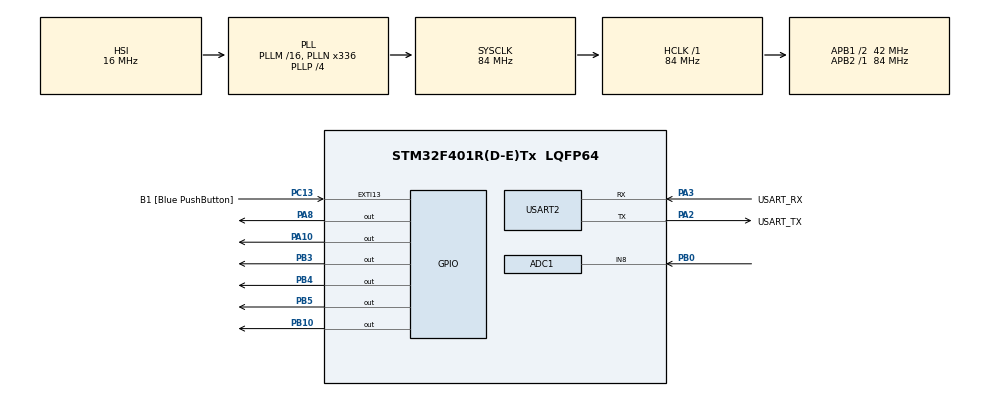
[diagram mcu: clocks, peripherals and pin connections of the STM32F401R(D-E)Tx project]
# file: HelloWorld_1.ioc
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ADC1.Channel-4\#ChannelRegularConversion=ADC_CHANNEL_8
ADC1.NbrOfConversionFlag=1
ADC1.Rank-4\#ChannelRegularConversion=1
ADC1.SamplingTime-4\#ChannelRegularConversion=ADC_SAMPLETIME_3CYCLES
ADC1.master=1
Mcu.Family=STM32F4
Mcu.Name=STM32F401R(D-E)Tx
Mcu.Package=LQFP64
NVIC.PriorityGroup=NVIC_PRIORITYGROUP_4
PA10.Signal=GPIO_Output
PA13.GPIO_Label=TMS
PA13.Signal=SYS_JTMS-SWDIO
PA14.GPIO_Label=TCK
PA14.Signal=SYS_JTCK-SWCLK
PA2.GPIO_Label=USART_TX
PA2.GPIO_Mode=GPIO_MODE_AF_PP
PA2.GPIO_PuPd=GPIO_NOPULL
PA2.GPIO_Speed=GPIO_SPEED_FREQ_LOW
PA2.Mode=Asynchronous
PA2.Signal=USART2_TX
PA3.GPIO_Label=USART_RX
PA3.GPIO_Mode=GPIO_MODE_AF_PP
PA3.GPIO_PuPd=GPIO_NOPULL
PA3.GPIO_Speed=GPIO_SPEED_FREQ_LOW
PA3.Mode=Asynchronous
PA3.Signal=USART2_RX
PA8.Signal=GPIO_Output
PB0.Signal=ADCx_IN8
PB10.Signal=GPIO_Output
PB3.Signal=GPIO_Output
PB4.Signal=GPIO_Output
PB5.Signal=GPIO_Output
PC13-ANTI_TAMP.GPIO_Label=B1 [Blue PushButton]
PC13-ANTI_TAMP.GPIO_ModeDefaultEXTI=GPIO_MODE_IT_FALLING
PC13-ANTI_TAMP.GPIO_PuPd=GPIO_NOPULL
PC13-ANTI_TAMP.Signal=GPXTI13
PC14-OSC32_IN.Signal=RCC_OSC32_IN
PC15-OSC32_OUT.Signal=RCC_OSC32_OUT
PH0\ -\ OSC_IN.Signal=RCC_OSC_IN
PH1\ -\ OSC_OUT.Signal=RCC_OSC_OUT
ProjectManager.HeapSize=0x200
ProjectManager.StackSize=0x400
ProjectManager.TargetToolchain=STM32CubeIDE
RCC.48MHZClocksFreq_Value=48000000
RCC.AHBFreq_Value=84000000
RCC.APB1CLKDivider=RCC_HCLK_DIV2
RCC.APB1Freq_Value=42000000
RCC.APB1TimFreq_Value=84000000
RCC.APB2Freq_Value=84000000
RCC.APB2TimFreq_Value=84000000
RCC.CortexFreq_Value=84000000
RCC.HCLKFreq_Value=84000000
RCC.HSE_VALUE=8000000
RCC.HSI_VALUE=16000000
RCC.PLLN=336
RCC.PLLP=RCC_PLLP_DIV4
RCC.PLLQ=7
RCC.SYSCLKFreq_VALUE=84000000
RCC.SYSCLKSource=RCC_SYSCLKSOURCE_PLLCLK
RCC.VCOOutputFreq_Value=336000000
SH.ADCx_IN8.0=ADC1_IN8,IN8
USART2.VirtualMode=VM_ASYNC
board=NUCLEO-F401RE

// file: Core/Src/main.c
/* USER CODE BEGIN Header */
/**
  ******************************************************************************
  * @file           : main.c
  * @brief          : Main program body
  ******************************************************************************
  * @attention
  *
  * Copyright (c) 2025 STMicroelectronics.
  * All rights reserved.
  *
  * This software is licensed under terms that can be found in the LICENSE file
  * in the root directory of this software component.
  * If no LICENSE file comes with this software, it is provided AS-IS.
  *
  ******************************************************************************
  */
/* USER CODE END Header */
#include "main.h"

/* USER CODE BEGIN Includes */
#include "LCD.h"
/* USER CODE END Includes */

ADC_HandleTypeDef hadc1;

UART_HandleTypeDef huart2;

void SystemClock_Config(void);
static void MX_GPIO_Init(void);
static void MX_ADC1_Init(void);
static void MX_USART2_UART_Init(void);

int main(void)
{

  /* MCU Configuration--------------------------------------------------------*/

  /* Reset of all peripherals, Initializes the Flash interface and the Systick. */
  HAL_Init();

  /* Configure the system clock */
  SystemClock_Config();

  /* Initialize all configured peripherals */
  MX_GPIO_Init();
  MX_ADC1_Init();
  MX_USART2_UART_Init();
  /* USER CODE BEGIN 2 */

  	  	  	  	  	  	  	 //D4			//D5		//D6		//D7
	Lcd_PortType ports[] = { GPIOB, 		GPIOB, 		GPIOB, 		GPIOA};
	Lcd_PinType  pins[] =  { GPIO_PIN_5, 	GPIO_PIN_4, GPIO_PIN_10, GPIO_PIN_8};
	Lcd_HandleTypeDef lcd;
	lcd = Lcd_create(ports, pins, GPIOA, GPIO_PIN_10,	//	RS
								  GPIOB, GPIO_PIN_3,	//	E
								  LCD_4_BIT_MODE);

	// print text
	Lcd_cursor(&lcd, 0,0);
	Lcd_string(&lcd, "Air Quality:");

  /* USER CODE END 2 */

  /* Infinite loop */
  /* USER CODE BEGIN WHILE */
  while (1)
  {
	  	double sensorVolts = 0.0;
	  	uint64_t sensorVal = 0;
	  	const int numSamples=20;

		// Analog Read Start
		HAL_ADC_Start_IT(&hadc1);
		for(int i=0; i<numSamples; i++)
		{
			if(HAL_ADC_PollForConversion(&hadc1, 10)== HAL_OK)
			{
				sensorVal +=  HAL_ADC_GetValue(&hadc1);
			}
		}
		HAL_ADC_Stop(&hadc1);

		sensorVal /= numSamples;
		sensorVolts = 5.0*((double)sensorVal)/1023.0;

		// Carbon MonoOxide Calculation
//		double R_s = (5.0 - sensorVolts)/sensorVolts;
//		const double RsRoCleanAir = 9.9;
//		double R_o = 3.23;
//		double RoClean = R_s/RsRoCleanAir;

		// Display on LCD
		Lcd_cursor(&lcd, 1,0);
		Lcd_int(&lcd, sensorVal );
		Lcd_cursor(&lcd, 1,8);
		Lcd_double(&lcd, sensorVolts );
		Lcd_cursor(&lcd, 1,12);
		Lcd_string(&lcd, "V" );

		// Transmit Over Serial USB - UART
		sensorVolts *= 100;
		unsigned int a = sensorVolts /100.0;
		unsigned int b = (unsigned int)sensorVolts % 100;

		{
			char buffer[20];
			sprintf((char*) buffer, "Sensor: %u.%02u \r\n", a,b);
			HAL_UART_Transmit(&huart2, (uint8_t*)buffer, sizeof(buffer), 1000);
		}

		HAL_Delay (1000);

    /* USER CODE END WHILE */

  }
}

void SystemClock_Config(void)
{
  RCC_OscInitTypeDef RCC_OscInitStruct = {0};
  RCC_ClkInitTypeDef RCC_ClkInitStruct = {0};

  /** Configure the main internal regulator output voltage
  */
  __HAL_RCC_PWR_CLK_ENABLE();
  __HAL_PWR_VOLTAGESCALING_CONFIG(PWR_REGULATOR_VOLTAGE_SCALE2);

  /** Initializes the RCC Oscillators according to the specified parameters
  * in the RCC_OscInitTypeDef structure.
  */
  RCC_OscInitStruct.OscillatorType = RCC_OSCILLATORTYPE_HSI;
  RCC_OscInitStruct.HSIState = RCC_HSI_ON;
  RCC_OscInitStruct.HSICalibrationValue = RCC_HSICALIBRATION_DEFAULT;
  RCC_OscInitStruct.PLL.PLLState = RCC_PLL_ON;
  RCC_OscInitStruct.PLL.PLLSource = RCC_PLLSOURCE_HSI;
  RCC_OscInitStruct.PLL.PLLM = 16;
  RCC_OscInitStruct.PLL.PLLN = 336;
  RCC_OscInitStruct.PLL.PLLP = RCC_PLLP_DIV4;
  RCC_OscInitStruct.PLL.PLLQ = 7;
  if (HAL_RCC_OscConfig(&RCC_OscInitStruct) != HAL_OK)
  {
    Error_Handler();
  }

  /** Initializes the CPU, AHB and APB buses clocks
  */
  RCC_ClkInitStruct.ClockType = RCC_CLOCKTYPE_HCLK|RCC_CLOCKTYPE_SYSCLK
                              |RCC_CLOCKTYPE_PCLK1|RCC_CLOCKTYPE_PCLK2;
  RCC_ClkInitStruct.SYSCLKSource = RCC_SYSCLKSOURCE_PLLCLK;
  RCC_ClkInitStruct.AHBCLKDivider = RCC_SYSCLK_DIV1;
  RCC_ClkInitStruct.APB1CLKDivider = RCC_HCLK_DIV2;
  RCC_ClkInitStruct.APB2CLKDivider = RCC_HCLK_DIV1;

  if (HAL_RCC_ClockConfig(&RCC_ClkInitStruct, FLASH_LATENCY_2) != HAL_OK)
  {
    Error_Handler();
  }
}

static void MX_ADC1_Init(void)
{

  ADC_ChannelConfTypeDef sConfig = {0};

  /** Configure the global features of the ADC (Clock, Resolution, Data Alignment and number of conversion)
  */
  hadc1.Instance = ADC1;
  hadc1.Init.ClockPrescaler = ADC_CLOCK_SYNC_PCLK_DIV4;
  hadc1.Init.Resolution = ADC_RESOLUTION_12B;
  hadc1.Init.ScanConvMode = DISABLE;
  hadc1.Init.ContinuousConvMode = DISABLE;
  hadc1.Init.DiscontinuousConvMode = DISABLE;
  hadc1.Init.ExternalTrigConvEdge = ADC_EXTERNALTRIGCONVEDGE_NONE;
  hadc1.Init.ExternalTrigConv = ADC_SOFTWARE_START;
  hadc1.Init.DataAlign = ADC_DATAALIGN_RIGHT;
  hadc1.Init.NbrOfConversion = 1;
  hadc1.Init.DMAContinuousRequests = DISABLE;
  hadc1.Init.EOCSelection = ADC_EOC_SINGLE_CONV;
  if (HAL_ADC_Init(&hadc1) != HAL_OK)
  {
    Error_Handler();
  }

  /** Configure for the selected ADC regular channel its corresponding rank in the sequencer and its sample time.
  */
  sConfig.Channel = ADC_CHANNEL_8;
  sConfig.Rank = 1;
  sConfig.SamplingTime = ADC_SAMPLETIME_3CYCLES;
  if (HAL_ADC_ConfigChannel(&hadc1, &sConfig) != HAL_OK)
  {
    Error_Handler();
  }

}

static void MX_USART2_UART_Init(void)
{

  huart2.Instance = USART2;
  huart2.Init.BaudRate = 115200;
  huart2.Init.WordLength = UART_WORDLENGTH_8B;
  huart2.Init.StopBits = UART_STOPBITS_1;
  huart2.Init.Parity = UART_PARITY_NONE;
  huart2.Init.Mode = UART_MODE_TX_RX;
  huart2.Init.HwFlowCtl = UART_HWCONTROL_NONE;
  huart2.Init.OverSampling = UART_OVERSAMPLING_16;
  if (HAL_UART_Init(&huart2) != HAL_OK)
  {
    Error_Handler();
  }

}

static void MX_GPIO_Init(void)
{
  GPIO_InitTypeDef GPIO_InitStruct = {0};

  /* GPIO Ports Clock Enable */
  __HAL_RCC_GPIOC_CLK_ENABLE();
  __HAL_RCC_GPIOH_CLK_ENABLE();
  __HAL_RCC_GPIOA_CLK_ENABLE();
  __HAL_RCC_GPIOB_CLK_ENABLE();

  /*Configure GPIO pin Output Level */
  HAL_GPIO_WritePin(GPIOB, GPIO_PIN_10|GPIO_PIN_3|GPIO_PIN_4|GPIO_PIN_5, GPIO_PIN_RESET);

  /*Configure GPIO pin Output Level */
  HAL_GPIO_WritePin(GPIOA, GPIO_PIN_8|GPIO_PIN_10, GPIO_PIN_RESET);

  /*Configure GPIO pin : B1_Pin */
  GPIO_InitStruct.Pin = B1_Pin;
  GPIO_InitStruct.Mode = GPIO_MODE_IT_FALLING;
  GPIO_InitStruct.Pull = GPIO_NOPULL;
  HAL_GPIO_Init(B1_GPIO_Port, &GPIO_InitStruct);

  /*Configure GPIO pins : PB10 PB3 PB4 PB5 */
  GPIO_InitStruct.Pin = GPIO_PIN_10|GPIO_PIN_3|GPIO_PIN_4|GPIO_PIN_5;
  GPIO_InitStruct.Mode = GPIO_MODE_OUTPUT_PP;
  GPIO_InitStruct.Pull = GPIO_NOPULL;
  GPIO_InitStruct.Speed = GPIO_SPEED_FREQ_LOW;
  HAL_GPIO_Init(GPIOB, &GPIO_InitStruct);

  /*Configure GPIO pins : PA8 PA10 */
  GPIO_InitStruct.Pin = GPIO_PIN_8|GPIO_PIN_10;
  GPIO_InitStruct.Mode = GPIO_MODE_OUTPUT_PP;
  GPIO_InitStruct.Pull = GPIO_NOPULL;
  GPIO_InitStruct.Speed = GPIO_SPEED_FREQ_LOW;
  HAL_GPIO_Init(GPIOA, &GPIO_InitStruct);

}

void Error_Handler(void)
{
  __disable_irq();
  while (1)
  {
  }
}
